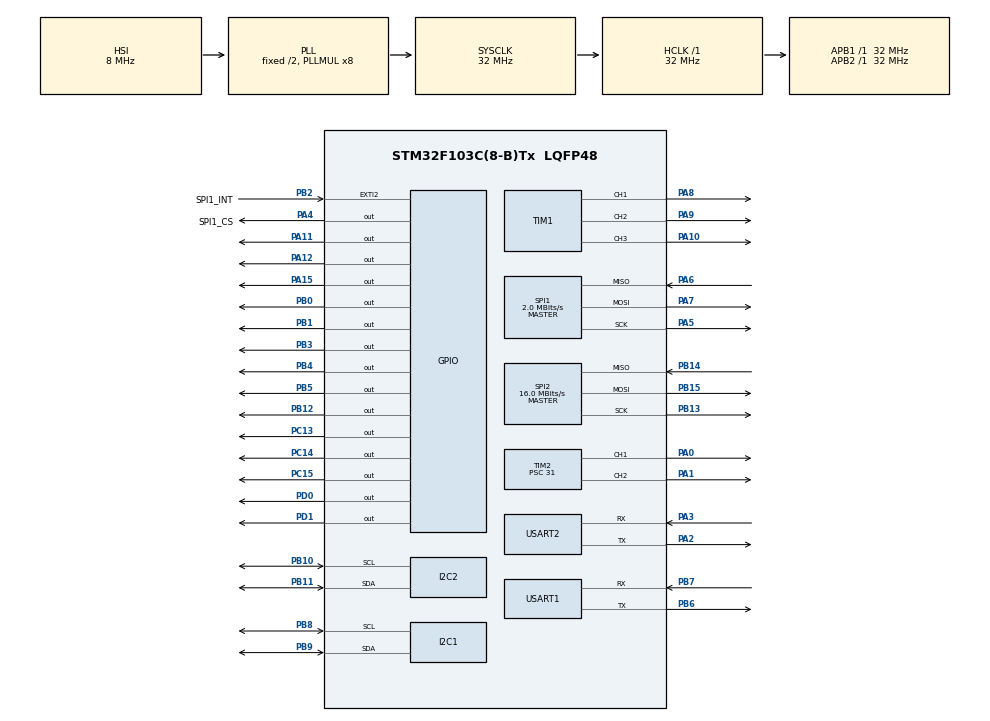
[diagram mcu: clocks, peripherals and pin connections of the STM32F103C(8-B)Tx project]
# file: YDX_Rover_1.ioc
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IWDG.Prescaler=IWDG_PRESCALER_32
Mcu.Family=STM32F1
Mcu.Name=STM32F103C(8-B)Tx
Mcu.Package=LQFP48
NVIC.I2C2_ER_IRQn=true\:14\:0\:true\:false\:true\:true\:true\:true
NVIC.PriorityGroup=NVIC_PRIORITYGROUP_4
NVIC.TIM3_IRQn=true\:10\:0\:true\:false\:true\:true\:true\:true
NVIC.USART1_IRQn=true\:7\:0\:true\:false\:true\:true\:true\:true
NVIC.USART2_IRQn=true\:12\:0\:true\:false\:true\:true\:true\:true
PA0-WKUP.Signal=S_TIM2_CH1_ETR
PA1.Signal=S_TIM2_CH2
PA10.Signal=S_TIM1_CH3
PA11.Signal=GPIO_Output
PA12.Signal=GPIO_Output
PA13.Mode=Serial_Wire
PA13.Signal=SYS_JTMS-SWDIO
PA14.Mode=Serial_Wire
PA14.Signal=SYS_JTCK-SWCLK
PA15.GPIO_PuPd=GPIO_PULLDOWN
PA15.Signal=GPIO_Output
PA2.Mode=Asynchronous
PA2.Signal=USART2_TX
PA3.Mode=Asynchronous
PA3.Signal=USART2_RX
PA4.GPIO_Label=SPI1_CS
PA4.Signal=GPIO_Output
PA5.Mode=Full_Duplex_Master
PA5.Signal=SPI1_SCK
PA6.Mode=Full_Duplex_Master
PA6.Signal=SPI1_MISO
PA7.Mode=Full_Duplex_Master
PA7.Signal=SPI1_MOSI
PA8.Signal=S_TIM1_CH1
PA9.Signal=S_TIM1_CH2
PB0.Signal=GPIO_Output
PB1.Signal=GPIO_Output
PB10.Mode=I2C
PB10.Signal=I2C2_SCL
PB11.Mode=I2C
PB11.Signal=I2C2_SDA
PB12.GPIO_PuPd=GPIO_PULLDOWN
PB12.Signal=GPIO_Output
PB13.Mode=Full_Duplex_Master
PB13.Signal=SPI2_SCK
PB14.Mode=Full_Duplex_Master
PB14.Signal=SPI2_MISO
PB15.Mode=Full_Duplex_Master
PB15.Signal=SPI2_MOSI
PB2.GPIO_Label=SPI1_INT
PB2.Signal=GPXTI2
PB3.Signal=GPIO_Output
PB4.Signal=GPIO_Output
PB5.Signal=GPIO_Output
PB6.Mode=Asynchronous
PB6.Signal=USART1_TX
PB7.Mode=Asynchronous
PB7.Signal=USART1_RX
PB8.Mode=I2C
PB8.Signal=I2C1_SCL
PB9.Mode=I2C
PB9.Signal=I2C1_SDA
PC13-TAMPER-RTC.Signal=GPIO_Output
PC14-OSC32_IN.Signal=GPIO_Output
PC15-OSC32_OUT.Signal=GPIO_Output
PD0-OSC_IN.Signal=GPIO_Output
PD1-OSC_OUT.Signal=GPIO_Output
ProjectManager.HeapSize=0x200
ProjectManager.StackSize=0x400
ProjectManager.TargetToolchain=STM32CubeIDE
RCC.AHBFreq_Value=32000000
RCC.APB1Freq_Value=32000000
RCC.APB1TimFreq_Value=32000000
RCC.APB2Freq_Value=32000000
RCC.APB2TimFreq_Value=32000000
RCC.HCLKFreq_Value=32000000
RCC.PLLMUL=RCC_PLL_MUL8
RCC.SYSCLKFreq_VALUE=32000000
RCC.SYSCLKSource=RCC_SYSCLKSOURCE_PLLCLK
RCC.USBFreq_Value=32000000
SH.S_TIM1_CH1.0=TIM1_CH1,PWM Generation1 CH1
SH.S_TIM1_CH2.0=TIM1_CH2,PWM Generation2 CH2
SH.S_TIM1_CH3.0=TIM1_CH3,PWM Generation3 CH3
SH.S_TIM2_CH1_ETR.0=TIM2_CH1,PWM Generation1 CH1
SH.S_TIM2_CH2.0=TIM2_CH2,PWM Generation2 CH2
SPI1.BaudRatePrescaler=SPI_BAUDRATEPRESCALER_16
SPI1.CalculateBaudRate=2.0 MBits/s
SPI1.Direction=SPI_DIRECTION_2LINES
SPI1.Mode=SPI_MODE_MASTER
SPI1.VirtualType=VM_MASTER
SPI2.BaudRatePrescaler=SPI_BAUDRATEPRESCALER_2
SPI2.CalculateBaudRate=16.0 MBits/s
SPI2.Direction=SPI_DIRECTION_2LINES
SPI2.Mode=SPI_MODE_MASTER
SPI2.VirtualType=VM_MASTER
TIM1.Channel-PWM\ Generation1\ CH1=TIM_CHANNEL_1
TIM1.Channel-PWM\ Generation2\ CH2=TIM_CHANNEL_2
TIM1.Channel-PWM\ Generation3\ CH3=TIM_CHANNEL_3
TIM2.Channel-PWM\ Generation1\ CH1=TIM_CHANNEL_1
TIM2.Channel-PWM\ Generation2\ CH2=TIM_CHANNEL_2
TIM2.Period=127
TIM2.Prescaler=31
TIM2.Pulse-PWM\ Generation2\ CH2=0
TIM3.Period=99
TIM3.Prescaler=31999
USART1.VirtualMode=VM_ASYNC
USART2.VirtualMode=VM_ASYNC
VP_IWDG_VS_IWDG.Mode=IWDG_Activate
VP_TIM1_VS_ClockSourceINT.Mode=Internal
VP_TIM2_VS_ClockSourceINT.Mode=Internal
VP_TIM3_VS_ClockSourceINT.Mode=Internal
board=custom

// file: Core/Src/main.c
/* USER CODE BEGIN Header */
/**
  ******************************************************************************
  * @file           : main.c
  * @brief          : Main program body
  ******************************************************************************
  * @attention
  *
  * Copyright (c) 2025 STMicroelectronics.
  * All rights reserved.
  *
  * This software is licensed under terms that can be found in the LICENSE file
  * in the root directory of this software component.
  * If no LICENSE file comes with this software, it is provided AS-IS.
  *
  ******************************************************************************
  */
/* USER CODE END Header */
#include "main.h"

/* USER CODE BEGIN Includes */
#include "MPU9250.h"
#include "math.h"

#include "VL53L0X.h"
#include "stdio.h"
/* USER CODE END Includes */

I2C_HandleTypeDef hi2c1;
I2C_HandleTypeDef hi2c2;

IWDG_HandleTypeDef hiwdg;

SPI_HandleTypeDef hspi1;
SPI_HandleTypeDef hspi2;

TIM_HandleTypeDef htim1;
TIM_HandleTypeDef htim2;
TIM_HandleTypeDef htim3;

UART_HandleTypeDef huart1;
UART_HandleTypeDef huart2;

void SystemClock_Config(void);
static void MX_GPIO_Init(void);
static void MX_I2C1_Init(void);
static void MX_SPI1_Init(void);
static void MX_SPI2_Init(void);
static void MX_TIM1_Init(void);
static void MX_TIM2_Init(void);
static void MX_USART1_UART_Init(void);
static void MX_USART2_UART_Init(void);
static void MX_I2C2_Init(void);
static void MX_TIM3_Init(void);
static void MX_IWDG_Init(void);

/* USER CODE BEGIN 0 */
uint32_t mv, p1,p2;

int8_t test_speed = 0;

extern float 	track_left_position;
extern float 	track_right_position;

float tp_left = 1;
float tp_right = 1;
float autopilot_start_point_left;

//IMU
int16_t AccData[3], GyroData[3], MagData[3];
float mag_vec_len;
int16_t MagData_Zero[3] = {120, 120, 120};
float mag_vec_len_zero;
float angle;

enum _platform_state
{
	  INIT,
	  ARM,
	  DISARM,
	  AUTO_GTP,
	  AUTO_GTV
}platform_state;

int8_t correction = 0;

//UART
uint8_t buffer_for_send[40];

//
union i16_
{
	uint8_t u8[2];
	int16_t	i16;
}i16;

union f_u8_
{
	uint8_t u8[4];
	float	f;
}f_u8;

//Extern
extern uint8_t transmition_state; // 1- have header, 2 have command, 3 have data, 0 - waiting data
extern uint8_t command;
extern uint8_t com_data;

extern float target_speed_left;
extern float target_speed_right;

extern float track_left_speed;
extern float track_right_speed;

int8_t test_left_speed;
int8_t test_right_speed;

uint16_t lidar_front_left_range = 11;
uint16_t lidar_front_right_range = 23;

uint16_t distance;

/*
void cover_move(int8_t speed)
{
	//PWM channel TIM2->CH3 (PB10)
	//Reverse pin PA15
	if(speed == 0)
	{
		TIM2->CCR3 = 0;
		HAL_GPIO_WritePin(GPIOA, GPIO_PIN_15, 0);
		return;
	}

	if(speed > 0) //Движение вперёд
	{
		debug_pwm = speed;//(uint16_t)((float)speed * 0.7778f + 42.222f);

		TIM2->CCR3 = debug_pwm;
		HAL_GPIO_WritePin(GPIOA, GPIO_PIN_15, 1);
	}
	else
	{
		debug_pwm = speed*-1;//(uint16_t)((float)speed * 1.111f + 121.111f);
		TIM2->CCR3 = debug_pwm;
		HAL_GPIO_WritePin(GPIOA, GPIO_PIN_15, 0);
	}
}
*/
/*
uint16_t get_lidar_data(uint8_t lidar_num)
{
	HAL_I2C_Mem_Read(&hi2c1, 0x52, 0x8A, 1, test_read_vlx, 2, 10);
}
*/
/* USER CODE END 0 */

int main(void)
{

  /* MCU Configuration--------------------------------------------------------*/

  /* Reset of all peripherals, Initializes the Flash interface and the Systick. */
  HAL_Init();

  /* Configure the system clock */
  SystemClock_Config();

  /* Initialize all configured peripherals */
  MX_GPIO_Init();
  MX_I2C1_Init();
  MX_SPI1_Init();
  MX_SPI2_Init();
  MX_TIM1_Init();
  MX_TIM2_Init();
  MX_USART1_UART_Init();
  MX_USART2_UART_Init();
  MX_I2C2_Init();
  MX_TIM3_Init();
  MX_IWDG_Init();
  /* USER CODE BEGIN 2 */
  __HAL_UART_ENABLE_IT(&huart1, UART_IT_RXNE);
  __HAL_UART_ENABLE_IT(&huart1, UART_IT_TC);

  HAL_TIM_Base_Start(&htim2);
  HAL_TIM_PWM_Start(&htim2, TIM_CHANNEL_1);
  HAL_TIM_PWM_Start(&htim2, TIM_CHANNEL_2);
  HAL_TIM_PWM_Start(&htim2, TIM_CHANNEL_3);

  HAL_GPIO_WritePin(GPIOB, GPIO_PIN_12, 0); //Left  motor rererse pin
  HAL_GPIO_WritePin(GPIOC, GPIO_PIN_15, 0); //Right motor rererse pin

  HAL_GPIO_WritePin(GPIOD, GPIO_PIN_0, 1); //Blue LED
  HAL_Delay(200);
  HAL_GPIO_WritePin(GPIOD, GPIO_PIN_0, 0); //Blue LED

  //IMU
  //MPU9250_Init(&mpu9250, mpu9250_device, mpu9250_acc_scale, mpu9250_gyro_scale, mpu9250_mag_scale);
  MPU9250_Init();

  HAL_TIM_Base_Start_IT(&htim3);

  HAL_Delay(500);
  HAL_GPIO_WritePin(GPIOB, GPIO_PIN_1, 1); //Front LED

  platform_state = DISARM;

  HAL_GPIO_WritePin(GPIOC, GPIO_PIN_13, 1);
  HAL_GPIO_WritePin(GPIOC, GPIO_PIN_14, 0);

  left_wheel(0);
  right_wheel(0);

  set_start_position();
  set_zero_position();

  //Lidar =============================================================================================
  // Initialise a message buffer.
  	/*char msgBuffer[52];
  	for (uint8_t i = 0; i < 52; i++) {
  		msgBuffer[i] = ' ';
  	}

  	// Initialise the VL53L0X
  	statInfo_t_VL53L0X distanceStr;
  	initVL53L0X(1, &hi2c1);

  	// Configure the sensor for high accuracy and speed in 20 cm.
  	setSignalRateLimit(200);
  	setVcselPulsePeriod(VcselPeriodPreRange, 10);
  	setVcselPulsePeriod(VcselPeriodFinalRange, 14);
  	setMeasurementTimingBudget(300 * 1000UL);
  	*/
  	//End lidar =======================================================================================
  /* USER CODE END 2 */

  /* Infinite loop */
  /* USER CODE BEGIN WHILE */
  while (1)
  {
	  HAL_IWDG_Refresh(&hiwdg);
	  //uint8_t test_read_vlx[2];
	  //HAL_I2C_Mem_Read(&hi2c1, 0x52, 0x8A, 1, test_read_vlx, 2, 10);

	  //HAL_UART_Transmit(&huart1, test_read_vlx, 1, 1);

	  //HAL_Delay(100);

	 /* if(platform_state == AUTO_GTP)
	  {
		  go_to_position(tp_left, tp_right);

		  if((track_get_error_left(tp_left) < 0.03f) && (track_get_error_right(tp_right) < 0.03f))
		  {
			  left_wheel(0);
			  right_wheel(0);
			  platform_state = ARM;
		  }

	  }*/

	  //  is the distance in millimeters.
	  // statInfo_t_VL53L0X distanceStr is the statistics read from the sensor.
	  //distance = readRangeSingleMillimeters(&distanceStr);

	  go_to_velocity(target_speed_left, target_speed_right);

	  HAL_Delay(10);

	  //IMU
	  MPU9250_GetData(AccData, MagData, GyroData);

	  mag_vec_len = sqrt(MagData[0]*MagData[0] + MagData[1]*MagData[1] + MagData[2]*MagData[2]);
	  mag_vec_len_zero = sqrt(MagData_Zero[0]*MagData_Zero[0] + MagData_Zero[1]*MagData_Zero[1] + MagData_Zero[2]*MagData_Zero[2]);
	  angle = 3.4154*acos((MagData[0]*MagData_Zero[0] + MagData[1]*MagData_Zero[1] + MagData[2]*MagData_Zero[2])/mag_vec_len/mag_vec_len_zero)/180;

	  buffer_for_send[0] = 0x7E;

	  i16.i16 = AccData[0];
	  buffer_for_send[1] = i16.u8[0];
	  buffer_for_send[2] = i16.u8[1];
	  i16.i16 = AccData[1];
	  buffer_for_send[3] = i16.u8[0];
	  buffer_for_send[4] = i16.u8[1];
	  i16.i16 = AccData[2];
	  buffer_for_send[5] = i16.u8[0];
	  buffer_for_send[6] = i16.u8[1];

	  i16.i16 = GyroData[0];
	  buffer_for_send[7] = i16.u8[0];
	  buffer_for_send[8] = i16.u8[1];
	  i16.i16 = GyroData[1];
	  buffer_for_send[9] = i16.u8[0];
	  buffer_for_send[10] = i16.u8[1];
	  i16.i16 = GyroData[2];
	  buffer_for_send[11] = i16.u8[0];
	  buffer_for_send[12] = i16.u8[1];

	  i16.i16 = MagData[0];
	  buffer_for_send[13] = i16.u8[0];
	  buffer_for_send[14] = i16.u8[1];
	  i16.i16 = MagData[1];
	  buffer_for_send[15] = i16.u8[0];
	  buffer_for_send[16] = i16.u8[1];
	  i16.i16 = MagData[2];
	  buffer_for_send[17] = i16.u8[0];
	  buffer_for_send[18] = i16.u8[1];

	  f_u8.f = track_left_position*2.5*3.14159265;

	  buffer_for_send[19] = f_u8.u8[0];
	  buffer_for_send[20] = f_u8.u8[1];
	  buffer_for_send[21] = f_u8.u8[2];
	  buffer_for_send[22] = f_u8.u8[3];

	  f_u8.f = track_right_position*2.5*3.14159265;

	  buffer_for_send[23] = f_u8.u8[0];
	  buffer_for_send[24] = f_u8.u8[1];
	  buffer_for_send[25] = f_u8.u8[2];
	  buffer_for_send[26] = f_u8.u8[3];

	  f_u8.f = track_left_speed*2.5*3.14159265;

	  buffer_for_send[27] = f_u8.u8[0];
	  buffer_for_send[28] = f_u8.u8[1];
	  buffer_for_send[29] = f_u8.u8[2];
	  buffer_for_send[30] = f_u8.u8[3];

	  f_u8.f = track_right_speed*2.5*3.14159265;

	  buffer_for_send[31] = f_u8.u8[0];
	  buffer_for_send[32] = f_u8.u8[1];
	  buffer_for_send[33] = f_u8.u8[2];
	  buffer_for_send[34] = f_u8.u8[3];

	  i16.i16 = lidar_front_left_range;
	  buffer_for_send[35] = i16.u8[0];
	  buffer_for_send[36] = i16.u8[1];
	  i16.i16 = lidar_front_right_range;
	  buffer_for_send[37] = i16.u8[0];
	  buffer_for_send[38] = i16.u8[1];

	  HAL_UART_Transmit(&huart1, buffer_for_send, 39, 10);
    /* USER CODE END WHILE */

  }
}

void SystemClock_Config(void)
{
  RCC_OscInitTypeDef RCC_OscInitStruct = {0};
  RCC_ClkInitTypeDef RCC_ClkInitStruct = {0};

  /** Initializes the RCC Oscillators according to the specified parameters
  * in the RCC_OscInitTypeDef structure.
  */
  RCC_OscInitStruct.OscillatorType = RCC_OSCILLATORTYPE_HSI|RCC_OSCILLATORTYPE_LSI;
  RCC_OscInitStruct.HSIState = RCC_HSI_ON;
  RCC_OscInitStruct.HSICalibrationValue = RCC_HSICALIBRATION_DEFAULT;
  RCC_OscInitStruct.LSIState = RCC_LSI_ON;
  RCC_OscInitStruct.PLL.PLLState = RCC_PLL_ON;
  RCC_OscInitStruct.PLL.PLLSource = RCC_PLLSOURCE_HSI_DIV2;
  RCC_OscInitStruct.PLL.PLLMUL = RCC_PLL_MUL8;
  if (HAL_RCC_OscConfig(&RCC_OscInitStruct) != HAL_OK)
  {
    Error_Handler();
  }

  /** Initializes the CPU, AHB and APB buses clocks
  */
  RCC_ClkInitStruct.ClockType = RCC_CLOCKTYPE_HCLK|RCC_CLOCKTYPE_SYSCLK
                              |RCC_CLOCKTYPE_PCLK1|RCC_CLOCKTYPE_PCLK2;
  RCC_ClkInitStruct.SYSCLKSource = RCC_SYSCLKSOURCE_PLLCLK;
  RCC_ClkInitStruct.AHBCLKDivider = RCC_SYSCLK_DIV1;
  RCC_ClkInitStruct.APB1CLKDivider = RCC_HCLK_DIV1;
  RCC_ClkInitStruct.APB2CLKDivider = RCC_HCLK_DIV1;

  if (HAL_RCC_ClockConfig(&RCC_ClkInitStruct, FLASH_LATENCY_1) != HAL_OK)
  {
    Error_Handler();
  }
}

static void MX_I2C1_Init(void)
{

  hi2c1.Instance = I2C1;
  hi2c1.Init.ClockSpeed = 100000;
  hi2c1.Init.DutyCycle = I2C_DUTYCYCLE_2;
  hi2c1.Init.OwnAddress1 = 0;
  hi2c1.Init.AddressingMode = I2C_ADDRESSINGMODE_7BIT;
  hi2c1.Init.DualAddressMode = I2C_DUALADDRESS_DISABLE;
  hi2c1.Init.OwnAddress2 = 0;
  hi2c1.Init.GeneralCallMode = I2C_GENERALCALL_DISABLE;
  hi2c1.Init.NoStretchMode = I2C_NOSTRETCH_DISABLE;
  if (HAL_I2C_Init(&hi2c1) != HAL_OK)
  {
    Error_Handler();
  }

}

static void MX_I2C2_Init(void)
{

  hi2c2.Instance = I2C2;
  hi2c2.Init.ClockSpeed = 100000;
  hi2c2.Init.DutyCycle = I2C_DUTYCYCLE_2;
  hi2c2.Init.OwnAddress1 = 0;
  hi2c2.Init.AddressingMode = I2C_ADDRESSINGMODE_7BIT;
  hi2c2.Init.DualAddressMode = I2C_DUALADDRESS_DISABLE;
  hi2c2.Init.OwnAddress2 = 0;
  hi2c2.Init.GeneralCallMode = I2C_GENERALCALL_DISABLE;
  hi2c2.Init.NoStretchMode = I2C_NOSTRETCH_DISABLE;
  if (HAL_I2C_Init(&hi2c2) != HAL_OK)
  {
    Error_Handler();
  }

}

static void MX_IWDG_Init(void)
{

  hiwdg.Instance = IWDG;
  hiwdg.Init.Prescaler = IWDG_PRESCALER_32;
  hiwdg.Init.Reload = 4095;
  if (HAL_IWDG_Init(&hiwdg) != HAL_OK)
  {
    Error_Handler();
  }

}

static void MX_SPI1_Init(void)
{

  /* SPI1 parameter configuration*/
  hspi1.Instance = SPI1;
  hspi1.Init.Mode = SPI_MODE_MASTER;
  hspi1.Init.Direction = SPI_DIRECTION_2LINES;
  hspi1.Init.DataSize = SPI_DATASIZE_8BIT;
  hspi1.Init.CLKPolarity = SPI_POLARITY_LOW;
  hspi1.Init.CLKPhase = SPI_PHASE_1EDGE;
  hspi1.Init.NSS = SPI_NSS_SOFT;
  hspi1.Init.BaudRatePrescaler = SPI_BAUDRATEPRESCALER_16;
  hspi1.Init.FirstBit = SPI_FIRSTBIT_MSB;
  hspi1.Init.TIMode = SPI_TIMODE_DISABLE;
  hspi1.Init.CRCCalculation = SPI_CRCCALCULATION_DISABLE;
  hspi1.Init.CRCPolynomial = 10;
  if (HAL_SPI_Init(&hspi1) != HAL_OK)
  {
    Error_Handler();
  }

}

static void MX_SPI2_Init(void)
{

  /* SPI2 parameter configuration*/
  hspi2.Instance = SPI2;
  hspi2.Init.Mode = SPI_MODE_MASTER;
  hspi2.Init.Direction = SPI_DIRECTION_2LINES;
  hspi2.Init.DataSize = SPI_DATASIZE_8BIT;
  hspi2.Init.CLKPolarity = SPI_POLARITY_LOW;
  hspi2.Init.CLKPhase = SPI_PHASE_1EDGE;
  hspi2.Init.NSS = SPI_NSS_SOFT;
  hspi2.Init.BaudRatePrescaler = SPI_BAUDRATEPRESCALER_2;
  hspi2.Init.FirstBit = SPI_FIRSTBIT_MSB;
  hspi2.Init.TIMode = SPI_TIMODE_DISABLE;
  hspi2.Init.CRCCalculation = SPI_CRCCALCULATION_DISABLE;
  hspi2.Init.CRCPolynomial = 10;
  if (HAL_SPI_Init(&hspi2) != HAL_OK)
  {
    Error_Handler();
  }

}

static void MX_TIM1_Init(void)
{

  TIM_ClockConfigTypeDef sClockSourceConfig = {0};
  TIM_MasterConfigTypeDef sMasterConfig = {0};
  TIM_OC_InitTypeDef sConfigOC = {0};
  TIM_BreakDeadTimeConfigTypeDef sBreakDeadTimeConfig = {0};

  htim1.Instance = TIM1;
  htim1.Init.Prescaler = 0;
  htim1.Init.CounterMode = TIM_COUNTERMODE_UP;
  htim1.Init.Period = 65535;
  htim1.Init.ClockDivision = TIM_CLOCKDIVISION_DIV1;
  htim1.Init.RepetitionCounter = 0;
  htim1.Init.AutoReloadPreload = TIM_AUTORELOAD_PRELOAD_DISABLE;
  if (HAL_TIM_Base_Init(&htim1) != HAL_OK)
  {
    Error_Handler();
  }
  sClockSourceConfig.ClockSource = TIM_CLOCKSOURCE_INTERNAL;
  if (HAL_TIM_ConfigClockSource(&htim1, &sClockSourceConfig) != HAL_OK)
  {
    Error_Handler();
  }
  if (HAL_TIM_PWM_Init(&htim1) != HAL_OK)
  {
    Error_Handler();
  }
  sMasterConfig.MasterOutputTrigger = TIM_TRGO_RESET;
  sMasterConfig.MasterSlaveMode = TIM_MASTERSLAVEMODE_DISABLE;
  if (HAL_TIMEx_MasterConfigSynchronization(&htim1, &sMasterConfig) != HAL_OK)
  {
    Error_Handler();
  }
  sConfigOC.OCMode = TIM_OCMODE_PWM1;
  sConfigOC.Pulse = 0;
  sConfigOC.OCPolarity = TIM_OCPOLARITY_HIGH;
  sConfigOC.OCNPolarity = TIM_OCNPOLARITY_HIGH;
  sConfigOC.OCFastMode = TIM_OCFAST_DISABLE;
  sConfigOC.OCIdleState = TIM_OCIDLESTATE_RESET;
  sConfigOC.OCNIdleState = TIM_OCNIDLESTATE_RESET;
  if (HAL_TIM_PWM_ConfigChannel(&htim1, &sConfigOC, TIM_CHANNEL_1) != HAL_OK)
  {
    Error_Handler();
  }
  if (HAL_TIM_PWM_ConfigChannel(&htim1, &sConfigOC, TIM_CHANNEL_2) != HAL_OK)
  {
    Error_Handler();
  }
  if (HAL_TIM_PWM_ConfigChannel(&htim1, &sConfigOC, TIM_CHANNEL_3) != HAL_OK)
  {
    Error_Handler();
  }
  sBreakDeadTimeConfig.OffStateRunMode = TIM_OSSR_DISABLE;
  sBreakDeadTimeConfig.OffStateIDLEMode = TIM_OSSI_DISABLE;
  sBreakDeadTimeConfig.LockLevel = TIM_LOCKLEVEL_OFF;
  sBreakDeadTimeConfig.DeadTime = 0;
  sBreakDeadTimeConfig.BreakState = TIM_BREAK_DISABLE;
  sBreakDeadTimeConfig.BreakPolarity = TIM_BREAKPOLARITY_HIGH;
  sBreakDeadTimeConfig.AutomaticOutput = TIM_AUTOMATICOUTPUT_DISABLE;
  if (HAL_TIMEx_ConfigBreakDeadTime(&htim1, &sBreakDeadTimeConfig) != HAL_OK)
  {
    Error_Handler();
  }
  HAL_TIM_MspPostInit(&htim1);

}

static void MX_TIM2_Init(void)
{

  TIM_ClockConfigTypeDef sClockSourceConfig = {0};
  TIM_MasterConfigTypeDef sMasterConfig = {0};
  TIM_OC_InitTypeDef sConfigOC = {0};

  htim2.Instance = TIM2;
  htim2.Init.Prescaler = 31;
  htim2.Init.CounterMode = TIM_COUNTERMODE_UP;
  htim2.Init.Period = 127;
  htim2.Init.ClockDivision = TIM_CLOCKDIVISION_DIV1;
  htim2.Init.AutoReloadPreload = TIM_AUTORELOAD_PRELOAD_DISABLE;
  if (HAL_TIM_Base_Init(&htim2) != HAL_OK)
  {
    Error_Handler();
  }
  sClockSourceConfig.ClockSource = TIM_CLOCKSOURCE_INTERNAL;
  if (HAL_TIM_ConfigClockSource(&htim2, &sClockSourceConfig) != HAL_OK)
  {
    Error_Handler();
  }
  if (HAL_TIM_PWM_Init(&htim2) != HAL_OK)
  {
    Error_Handler();
  }
  sMasterConfig.MasterOutputTrigger = TIM_TRGO_RESET;
  sMasterConfig.MasterSlaveMode = TIM_MASTERSLAVEMODE_DISABLE;
  if (HAL_TIMEx_MasterConfigSynchronization(&htim2, &sMasterConfig) != HAL_OK)
  {
    Error_Handler();
  }
  sConfigOC.OCMode = TIM_OCMODE_PWM1;
  sConfigOC.Pulse = 0;
  sConfigOC.OCPolarity = TIM_OCPOLARITY_HIGH;
  sConfigOC.OCFastMode = TIM_OCFAST_DISABLE;
  if (HAL_TIM_PWM_ConfigChannel(&htim2, &sConfigOC, TIM_CHANNEL_1) != HAL_OK)
  {
    Error_Handler();
  }
  if (HAL_TIM_PWM_ConfigChannel(&htim2, &sConfigOC, TIM_CHANNEL_2) != HAL_OK)
  {
    Error_Handler();
  }
  HAL_TIM_MspPostInit(&htim2);

}

static void MX_TIM3_Init(void)
{

  TIM_ClockConfigTypeDef sClockSourceConfig = {0};
  TIM_MasterConfigTypeDef sMasterConfig = {0};

  htim3.Instance = TIM3;
  htim3.Init.Prescaler = 31999;
  htim3.Init.CounterMode = TIM_COUNTERMODE_UP;
  htim3.Init.Period = 9;
  htim3.Init.ClockDivision = TIM_CLOCKDIVISION_DIV1;
  htim3.Init.AutoReloadPreload = TIM_AUTORELOAD_PRELOAD_DISABLE;
  if (HAL_TIM_Base_Init(&htim3) != HAL_OK)
  {
    Error_Handler();
  }
  sClockSourceConfig.ClockSource = TIM_CLOCKSOURCE_INTERNAL;
  if (HAL_TIM_ConfigClockSource(&htim3, &sClockSourceConfig) != HAL_OK)
  {
    Error_Handler();
  }
  sMasterConfig.MasterOutputTrigger = TIM_TRGO_RESET;
  sMasterConfig.MasterSlaveMode = TIM_MASTERSLAVEMODE_DISABLE;
  if (HAL_TIMEx_MasterConfigSynchronization(&htim3, &sMasterConfig) != HAL_OK)
  {
    Error_Handler();
  }

}

static void MX_USART1_UART_Init(void)
{

  huart1.Instance = USART1;
  huart1.Init.BaudRate = 115200;
  huart1.Init.WordLength = UART_WORDLENGTH_8B;
  huart1.Init.StopBits = UART_STOPBITS_1;
  huart1.Init.Parity = UART_PARITY_NONE;
  huart1.Init.Mode = UART_MODE_TX_RX;
  huart1.Init.HwFlowCtl = UART_HWCONTROL_NONE;
  huart1.Init.OverSampling = UART_OVERSAMPLING_16;
  if (HAL_UART_Init(&huart1) != HAL_OK)
  {
    Error_Handler();
  }

}

static void MX_USART2_UART_Init(void)
{

  huart2.Instance = USART2;
  huart2.Init.BaudRate = 115200;
  huart2.Init.WordLength = UART_WORDLENGTH_8B;
  huart2.Init.StopBits = UART_STOPBITS_1;
  huart2.Init.Parity = UART_PARITY_NONE;
  huart2.Init.Mode = UART_MODE_TX_RX;
  huart2.Init.HwFlowCtl = UART_HWCONTROL_NONE;
  huart2.Init.OverSampling = UART_OVERSAMPLING_16;
  if (HAL_UART_Init(&huart2) != HAL_OK)
  {
    Error_Handler();
  }

}

static void MX_GPIO_Init(void)
{
  GPIO_InitTypeDef GPIO_InitStruct = {0};

  /* GPIO Ports Clock Enable */
  __HAL_RCC_GPIOC_CLK_ENABLE();
  __HAL_RCC_GPIOD_CLK_ENABLE();
  __HAL_RCC_GPIOA_CLK_ENABLE();
  __HAL_RCC_GPIOB_CLK_ENABLE();

  /*Configure GPIO pin Output Level */
  HAL_GPIO_WritePin(GPIOC, GPIO_PIN_13|GPIO_PIN_14|GPIO_PIN_15, GPIO_PIN_RESET);

  /*Configure GPIO pin Output Level */
  HAL_GPIO_WritePin(GPIOD, GPIO_PIN_0|GPIO_PIN_1, GPIO_PIN_RESET);

  /*Configure GPIO pin Output Level */
  HAL_GPIO_WritePin(GPIOA, SPI1_CS_Pin|GPIO_PIN_11|GPIO_PIN_12|GPIO_PIN_15, GPIO_PIN_RESET);

  /*Configure GPIO pin Output Level */
  HAL_GPIO_WritePin(GPIOB, GPIO_PIN_0|GPIO_PIN_1|GPIO_PIN_12|GPIO_PIN_3
                          |GPIO_PIN_4|GPIO_PIN_5, GPIO_PIN_RESET);

  /*Configure GPIO pins : PC13 PC14 PC15 */
  GPIO_InitStruct.Pin = GPIO_PIN_13|GPIO_PIN_14|GPIO_PIN_15;
  GPIO_InitStruct.Mode = GPIO_MODE_OUTPUT_PP;
  GPIO_InitStruct.Pull = GPIO_NOPULL;
  GPIO_InitStruct.Speed = GPIO_SPEED_FREQ_LOW;
  HAL_GPIO_Init(GPIOC, &GPIO_InitStruct);

  /*Configure GPIO pins : PD0 PD1 */
  GPIO_InitStruct.Pin = GPIO_PIN_0|GPIO_PIN_1;
  GPIO_InitStruct.Mode = GPIO_MODE_OUTPUT_PP;
  GPIO_InitStruct.Pull = GPIO_NOPULL;
  GPIO_InitStruct.Speed = GPIO_SPEED_FREQ_LOW;
  HAL_GPIO_Init(GPIOD, &GPIO_InitStruct);

  /*Configure GPIO pins : SPI1_CS_Pin PA11 PA12 */
  GPIO_InitStruct.Pin = SPI1_CS_Pin|GPIO_PIN_11|GPIO_PIN_12;
  GPIO_InitStruct.Mode = GPIO_MODE_OUTPUT_PP;
  GPIO_InitStruct.Pull = GPIO_NOPULL;
  GPIO_InitStruct.Speed = GPIO_SPEED_FREQ_LOW;
  HAL_GPIO_Init(GPIOA, &GPIO_InitStruct);

  /*Configure GPIO pins : PB0 PB1 PB3 PB4
                           PB5 */
  GPIO_InitStruct.Pin = GPIO_PIN_0|GPIO_PIN_1|GPIO_PIN_3|GPIO_PIN_4
                          |GPIO_PIN_5;
  GPIO_InitStruct.Mode = GPIO_MODE_OUTPUT_PP;
  GPIO_InitStruct.Pull = GPIO_NOPULL;
  GPIO_InitStruct.Speed = GPIO_SPEED_FREQ_LOW;
  HAL_GPIO_Init(GPIOB, &GPIO_InitStruct);

  /*Configure GPIO pin : SPI1_INT_Pin */
  GPIO_InitStruct.Pin = SPI1_INT_Pin;
  GPIO_InitStruct.Mode = GPIO_MODE_IT_RISING;
  GPIO_InitStruct.Pull = GPIO_NOPULL;
  HAL_GPIO_Init(SPI1_INT_GPIO_Port, &GPIO_InitStruct);

  /*Configure GPIO pin : PB12 */
  GPIO_InitStruct.Pin = GPIO_PIN_12;
  GPIO_InitStruct.Mode = GPIO_MODE_OUTPUT_PP;
  GPIO_InitStruct.Pull = GPIO_PULLDOWN;
  GPIO_InitStruct.Speed = GPIO_SPEED_FREQ_LOW;
  HAL_GPIO_Init(GPIOB, &GPIO_InitStruct);

  /*Configure GPIO pin : PA15 */
  GPIO_InitStruct.Pin = GPIO_PIN_15;
  GPIO_InitStruct.Mode = GPIO_MODE_OUTPUT_PP;
  GPIO_InitStruct.Pull = GPIO_PULLDOWN;
  GPIO_InitStruct.Speed = GPIO_SPEED_FREQ_LOW;
  HAL_GPIO_Init(GPIOA, &GPIO_InitStruct);

  /*Configure peripheral I/O remapping */
  __HAL_AFIO_REMAP_PD01_ENABLE();

}

void Error_Handler(void)
{
  __disable_irq();
  while (1)
  {
  }
}
